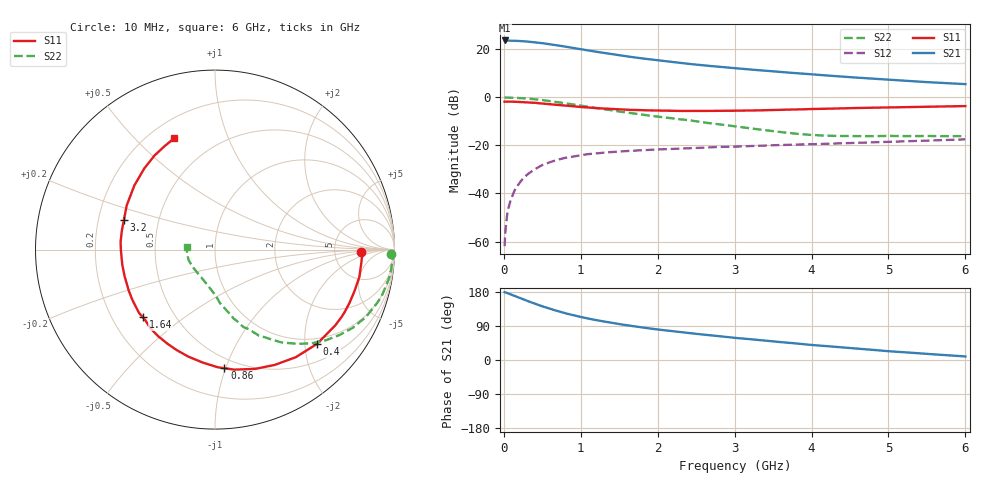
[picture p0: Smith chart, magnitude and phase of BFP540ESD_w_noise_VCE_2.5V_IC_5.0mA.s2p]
! Infineon Technologies  Discrete & RF Semiconductors
! BFP540ESD
! VCE =  2.5 V,  IC =  5.0 mA
! Common Emitter S-Parameters:  Nov 2015
# GHz  S  MA  R  50
!  f  S11  S21  S12  S22
! GHz  MAG  ANG  MAG  ANG  MAG  ANG  MAG  ANG
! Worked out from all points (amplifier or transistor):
!   210 points, 10 MHz to 6 GHz, reference 50 ohm
!   highest |S21| = 23.7 dB at 10 MHz (marker M1)
!   |S21| within 3 dB of that: start of sweep to 879.2 MHz
!   unconditionally stable (mu >= 1): 3.325 GHz to end of sweep
!   at 185 MHz: K = 0.04, MSG = 30.0 dB, |S12| = -36.4 dB
!   at 1.52 GHz: K = 0.49, MSG = 20.0 dB, |S12| = -22.5 dB
!   at 6 GHz: K = 1.23, MAG = 8.6 dB, |S12| = -17.5 dB
!   lowest NFmin = 0.69 dB at 900 MHz
!   S11 on the Smith chart (normalised r, x): 10 MHz: 9.71, -0.82; 400 MHz: 0.87, -2.28; 860 MHz: 0.42, -0.99; 1.64 GHz: 0.33, -0.36; 3.2 GHz: 0.31, +0.14; 6 GHz: 0.30, +0.66
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0.01  0.8145 -1.0  15.37 178.9  0.0008 77.7  0.9822 -1.3
0.025  0.8201 -2.9  15.31 178.2  0.002 97.7  0.9931 -1.5
0.05  0.8186 -5.3  15.27 176.0  0.0042 84.6  0.992 -3.0
0.15  0.8114 -16.3  15.16 168.2  0.0125 82.1  0.9828 -9.2
0.26  0.799 -28.0  14.77 159.4  0.0214 77.4  0.9619 -15.9
0.4  0.7742 -42.7  14.06 148.9  0.0318 71.3  0.9212 -24.0
0.5  0.7497 -53.1  13.53 141.7  0.0391 66.2  0.8833 -29.5
0.6  0.7235 -62.6  12.78 134.9  0.0449 62.4  0.8407 -34.5
0.7  0.7016 -71.3  12.15 129.2  0.0504 57.7  0.7995 -39.1
0.86  0.6627 -85.5  11.01 120.3  0.0574 52.3  0.7294 -45.8
1.02  0.6285 -97.7  9.984 112.7  0.0634 48.3  0.665 -51.6
1.18  0.6015 -109.5  9.063 105.9  0.0676 44.0  0.6071 -56.6
1.28  0.5895 -115.5  8.559 102.4  0.0704 42.0  0.5749 -59.2
1.5  0.5667 -129.6  7.567 94.6  0.0748 38.4  0.5096 -64.9
1.64  0.5514 -136.8  7.035 90.5  0.0773 36.3  0.4739 -68.0
2.02  0.531 -155.4  5.89 80.0  0.0828 32.5  0.3959 -75.0
2.5  0.5226 -174.6  4.825 69.1  0.0886 29.0  0.3186 -82.2
3.1  0.5309 165.2  3.941 56.8  0.0959 26.1  0.2387 -92.4
3.2  0.5335 162.2  3.822 55.0  0.0973 25.5  0.2279 -94.8
4.1  0.5777 139.4  2.945 38.2  0.1073 21.2  0.1623 -126.7
5.1  0.6263 121.3  2.291 21.9  0.1203 17.0  0.1573 -161.2
6  0.6611 110.0  1.894 9.4  0.134 14.0  0.1566 174.2
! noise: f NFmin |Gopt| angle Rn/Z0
0.9  0.69  0.1  42  0.12
1.8  0.92  0.1  123  0.11
2.4  0.94  0.12  135  0.1
3  1.1  0.2  165  0.09
4  1.26  0.29  -127  0.15
5  1.53  0.41  -101  0.32
6  1.74  0.53  -100  0.46
